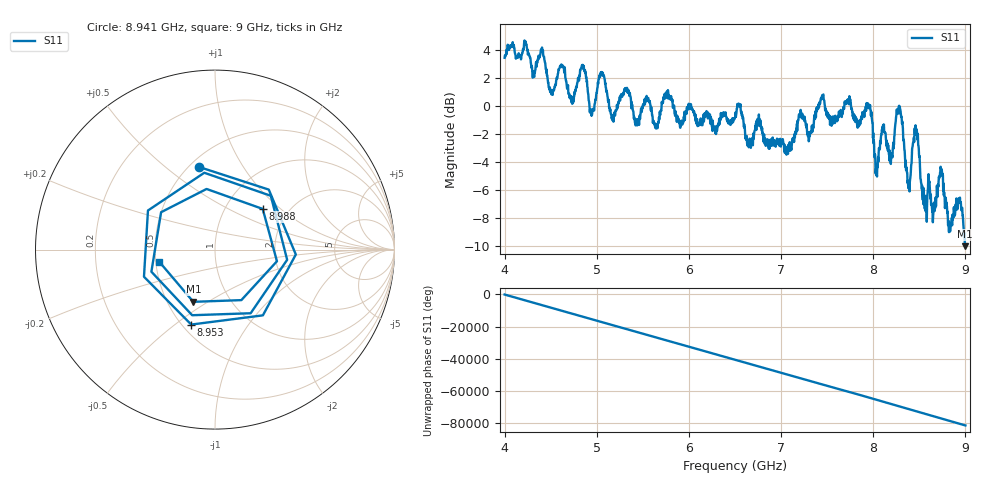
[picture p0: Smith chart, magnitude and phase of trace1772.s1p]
! Created with skrf 1.8.0 (http://scikit-rf.org).
# Hz S RI R 50.0
!freq ReS11 ImS11
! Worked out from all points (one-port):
!   1601 points, 4 GHz to 9 GHz, reference 50 ohm
!   lowest |S11| = -10.0 dB at 8.997 GHz (marker M1), VSWR 1.92, Z = 33.6 - j21.7 ohm
!   |S11| at or under -10 dB: 8.995535 GHz to 8.998168 GHz (2.632 MHz wide, 0.0293 % of centre)
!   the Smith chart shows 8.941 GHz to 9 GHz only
!   S11 on the Smith chart (normalised r, x): 8.941 GHz: 0.56, +0.66; 8.953 GHz: 0.55, -0.57; 8.988 GHz: 1.49, +0.77; 9 GHz: 0.52, -0.08
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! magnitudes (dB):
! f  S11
! 4 GHz  3.5
! 4.406 GHz  4.2
! 4.512 GHz  0.9
! 4.625 GHz  2.8
! 4.731 GHz  0.5
! 4.856 GHz  2.6
! 4.947 GHz  -0.7
! 5.053 GHz  2.4
! 5.162 GHz  -0.9
! 5.25 GHz  0.7
! 5.875 GHz  -0.8
! 6.5 GHz  -0.8
! 7.125 GHz  -2.5
! 7.75 GHz  0.5
! 7.956 GHz  -0.1
! 8.038 GHz  -4.8
! 8.2 GHz  -3.4
! 8.281 GHz  0.0
! 8.375 GHz  -5.3
! 8.459 GHz  -1.4
! 8.559 GHz  -7.3
! 8.731 GHz  -4.3
! 8.831 GHz  -8.8
! 8.941 GHz  -6.6
! 8.953 GHz  -7.2
! 8.988 GHz  -9.1
! 8.997 GHz  -10.0
! 9 GHz  -9.9
